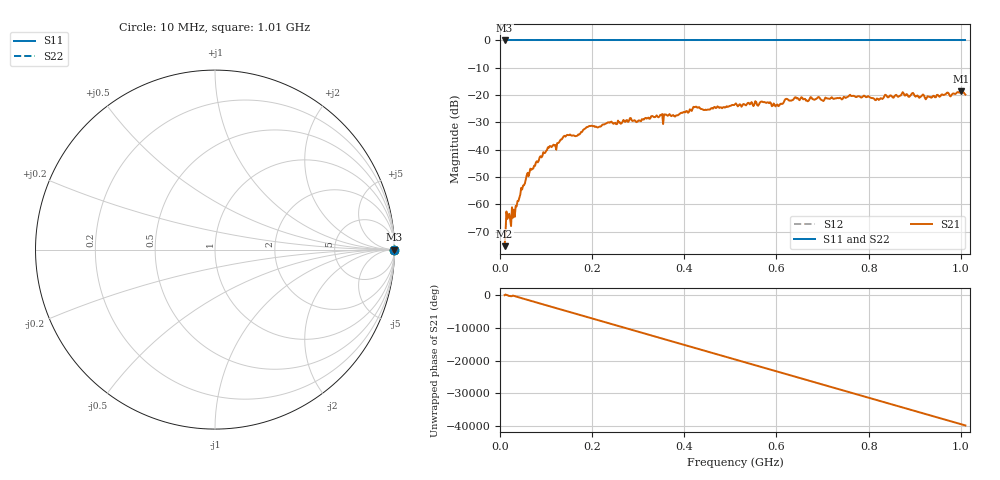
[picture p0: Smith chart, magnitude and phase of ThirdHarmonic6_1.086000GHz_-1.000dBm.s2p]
! 8/16/2025 10:02:36 AM
! C:\ANRITSUVNA\TEMP\TEMP.S2P
! CHANNEL.1
! TR.MEASUREMENT
! RAW.DATA
! RF.CORRECTION.OFF
! AVERAGING.OFF
! IF.BANDWIDTH: 5KHZ
! SWEEPTYPE:  FREQ.SWEEP(Linear)
! Reference Plane Port Info
! PORT:  PORT1  PORT2
! DISTANCE:  0  m  0  m
! TIME:  0  s  0  s
! PHASE.OFFSET:  0  deg.  0  deg.
! LOSS:  0  dB  0  dB
! REF.LOSS:  0  dB  0  dB
! REF.FREQ:  0  Hz  0  Hz
! Power Info
! POWER:  -20  dBm  -20  dBm
! EFF.POWER:  -20  dBm  -20  dBm
! SOURCE.ATTEN:  0  dB  0  dB
! TEST.ATTEN:  0  dB  0  dB
# GHZ S RI R 50.0
! FREQ.GHZ  S11RE  S11IM  S21RE  S21IM  S12RE  S12IM  S22RE  S22IM
!; PortSelection: Port_12
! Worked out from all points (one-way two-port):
!   501 points, 10 MHz to 1.01 GHz, reference 50 ohm
!   highest |S21| = -18.60 dB at 1 GHz (marker M1); lowest = -75.3 dB at 10 MHz (marker M2)
!   lowest |S11| = 0.0 dB at 10 MHz (marker M3)
!   |S11| at or under -10 dB: nowhere
!   |S22| runs from 0.0 to 0.0 dB; largest |S21 - S12| = 1.1
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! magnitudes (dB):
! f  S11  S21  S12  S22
! 10 MHz  0.0  -75.3  0.0  0.0
! 18 MHz  0.0  -64.2  0.0  0.0
! 28 MHz  0.0  -64.9  0.0  0.0
! 62 MHz  0.0  -49.7  0.0  0.0
! 106 MHz  0.0  -39.3  0.0  0.0
! 124 MHz  0.0  -37.6  0.0  0.0
! 142 MHz  0.0  -35.2  0.0  0.0
! 178 MHz  0.0  -33.5  0.0  0.0
! 196 MHz  0.0  -31.3  0.0  0.0
! 344 MHz  0.0  -28.1  0.0  0.0
! 382 MHz  0.0  -27.5  0.0  0.0
! 424 MHz  0.0  -24.3  0.0  0.0
! 446 MHz  0.0  -25.3  0.0  0.0
! 510 MHz  0.0  -23.4  0.0  0.0
! 570 MHz  0.0  -22.5  0.0  0.0
! 602 MHz  0.0  -23.5  0.0  0.0
! 622 MHz  0.0  -21.4  0.0  0.0
! 678 MHz  0.0  -21.5  0.0  0.0
! 844 MHz  0.0  -20.7  0.0  0.0
! 926 MHz  0.0  -21.0  0.0  0.0
! 1 GHz  0.0  -18.6  0.0  0.0
! 1.01 GHz  0.0  -19.8  0.0  0.0
